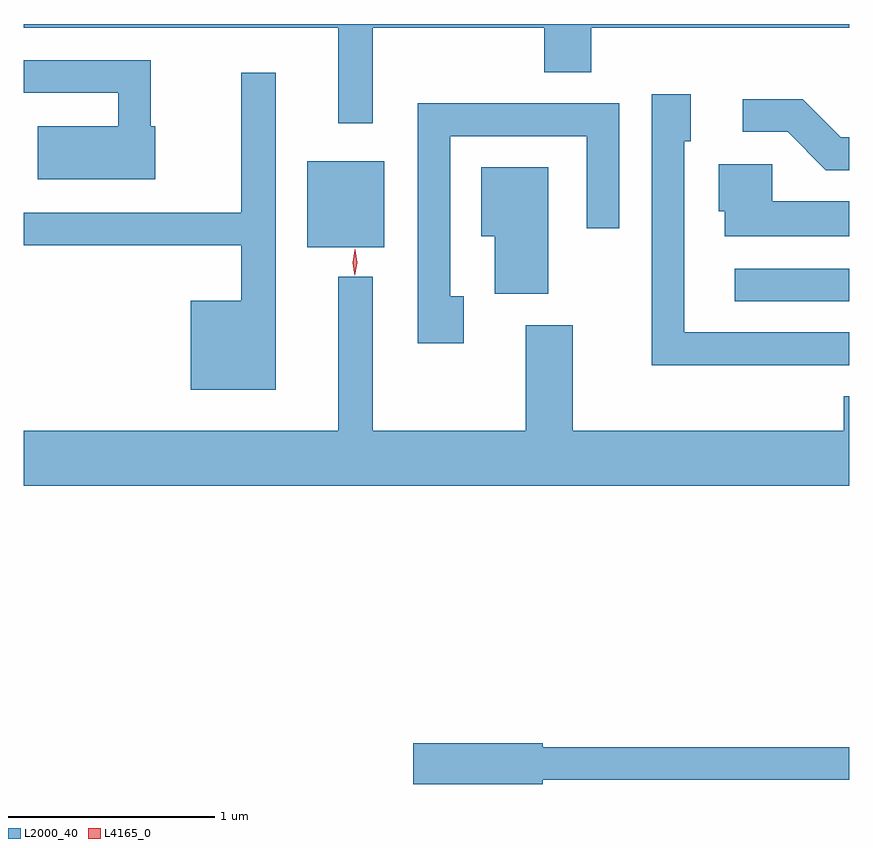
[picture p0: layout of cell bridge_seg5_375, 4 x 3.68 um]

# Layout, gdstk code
import gdstk
lib = gdstk.Library(unit=1e-6, precision=1e-09)
def R(c, l, rs):  # rectangles x0, y0, x1, y1
    for r in rs: c.add(gdstk.rectangle(r[:2], r[2:], *l))
def P(c, l, *ps):  # polygons
    for p in ps: c.add(gdstk.Polygon(p, *l))
L2000_40 = (2000, 40)
L4165_0 = (4165, 0)

bridge_seg5_375 = lib.new_cell('bridge_seg5_375')
R(bridge_seg5_375, L2000_40, [(467.313,1488.771,467.868,1488.929), (465.241,1489.031,465.614,1489.449)])
P(bridge_seg5_375, L2000_40, [(465.559,1490.096),(466.391,1490.096),(466.391,1489.881),(466.619,1489.881),(466.619,1490.096),(467.868,1490.096),(467.868,1490.114),(463.868,1490.114),(463.868,1490.096),(465.391,1490.096),(465.391,1489.633),(465.559,1489.633)],
  [(464.504,1489.619),(464.484,1489.619),(464.484,1489.939),(463.868,1489.939),(463.868,1489.781),(464.326,1489.781),(464.326,1489.619),(463.936,1489.619),(463.936,1489.361),(464.504,1489.361)],
  [(465.089,1489.878),(464.921,1489.878),(464.921,1489.199),(463.868,1489.199),(463.868,1489.041),(464.921,1489.041),(464.921,1488.774),(464.676,1488.774),(464.676,1488.341),(465.089,1488.341)],
  [(467.868,1488.619),(467.069,1488.619),(467.069,1489.546),(467.099,1489.546),(467.099,1489.774),(466.911,1489.774),(466.911,1488.461),(467.868,1488.461)],
  [(467.868,1489.564),(467.827,1489.564),(467.642,1489.749),(467.353,1489.749),(467.353,1489.591),(467.569,1489.591),(467.754,1489.406),(467.868,1489.406)],
  [(465.999,1488.794),(465.934,1488.794),(465.934,1489.571),(466.596,1489.571),(466.596,1489.123),(466.754,1489.123),(466.754,1489.729),(465.776,1489.729),(465.776,1488.566),(465.999,1488.566)],
  [(467.868,1489.254),(467.494,1489.254),(467.494,1489.434),(467.236,1489.434),(467.236,1489.206),(467.266,1489.206),(467.266,1489.086),(467.868,1489.086)],
  [(466.409,1489.419),(466.086,1489.419),(466.086,1489.086),(466.151,1489.086),(466.151,1488.806),(466.409,1488.806)],
  [(467.868,1488.309),(467.841,1488.309),(467.841,1488.144),(466.529,1488.144),(466.529,1488.654),(466.301,1488.654),(466.301,1488.144),(465.559,1488.144),(465.559,1488.888),(465.391,1488.888),(465.391,1488.144),(463.868,1488.144),(463.868,1487.876),(467.868,1487.876)],
  [(466.384,1486.451),(467.868,1486.451),(467.868,1486.609),(466.384,1486.609),(466.384,1486.629),(465.756,1486.629),(465.756,1486.431),(466.384,1486.431)])
P(bridge_seg5_375, L4165_0, [(465.472,1488.893),(465.463,1488.957),(465.473,1489.021),(465.474,1489.022),(465.474,1489.021),(465.483,1488.957),(465.473,1488.893),(465.473,1488.893)])

lib.write_gds('bridge_seg5_375.gds')
